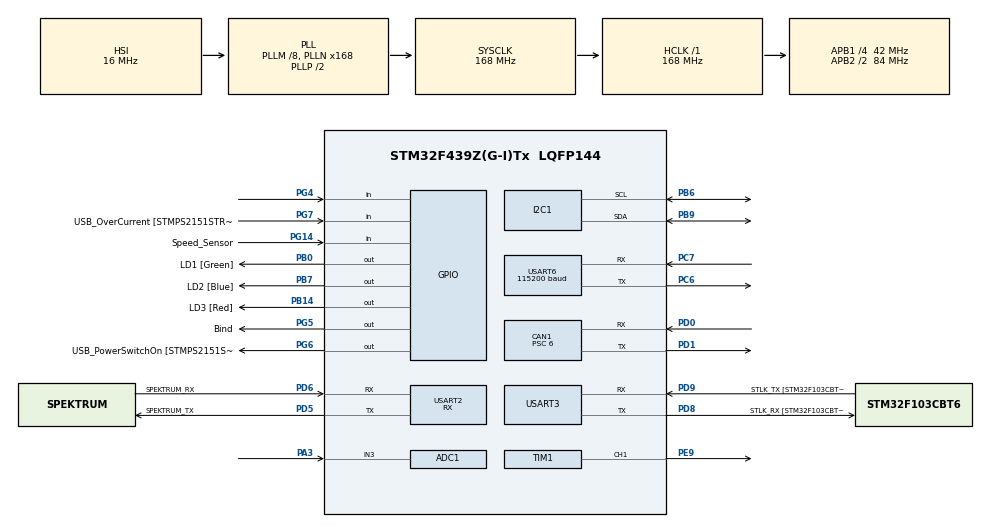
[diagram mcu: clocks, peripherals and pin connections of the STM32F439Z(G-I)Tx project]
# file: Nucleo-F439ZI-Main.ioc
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ADC1.Channel-3\#ChannelRegularConversion=ADC_CHANNEL_3
ADC1.NbrOfConversionFlag=1
ADC1.Rank-3\#ChannelRegularConversion=1
ADC1.SamplingTime-3\#ChannelRegularConversion=ADC_SAMPLETIME_3CYCLES
ADC1.master=1
CAN1.ABOM=ENABLE
CAN1.AWUM=ENABLE
CAN1.BS1=CAN_BS1_11TQ
CAN1.BS2=CAN_BS2_2TQ
CAN1.CalculateBaudRate=500000
CAN1.CalculateTimeBit=2000
CAN1.CalculateTimeQuantum=142.85714285714286
CAN1.NART=ENABLE
CAN1.Prescaler=6
CAN1.TTCM=DISABLE
Mcu.Family=STM32F4
Mcu.Name=STM32F439Z(G-I)Tx
Mcu.Package=LQFP144
NVIC.CAN1_RX0_IRQn=true\:0\:0\:false\:false\:true\:true\:true\:true
NVIC.CAN1_RX1_IRQn=true\:0\:0\:false\:false\:true\:true\:true\:true
NVIC.CAN1_SCE_IRQn=true\:0\:0\:false\:false\:true\:true\:true\:true
NVIC.CAN1_TX_IRQn=true\:0\:0\:false\:false\:true\:true\:true\:true
NVIC.PriorityGroup=NVIC_PRIORITYGROUP_4
NVIC.RCC_IRQn=true\:0\:0\:false\:false\:true\:true\:false\:true
NVIC.TIM1_TRG_COM_TIM11_IRQn=true\:0\:0\:false\:false\:true\:true\:true\:true
NVIC.TIM1_UP_TIM10_IRQn=true\:0\:0\:false\:false\:true\:true\:true\:true
NVIC.TIM6_DAC_IRQn=true\:0\:0\:false\:false\:true\:true\:true\:true
NVIC.TIM7_IRQn=true\:0\:0\:false\:false\:true\:true\:true\:true
NVIC.TIM8_UP_TIM13_IRQn=true\:0\:0\:false\:false\:true\:true\:true\:true
NVIC.USART2_IRQn=true\:1\:0\:true\:false\:true\:true\:true\:true
NVIC.USART6_IRQn=true\:0\:0\:false\:false\:true\:true\:true\:true
PA1.GPIO_Label=RMII_REF_CLK [LAN8742A-CZ-TR_REFCLK0]
PA1.Signal=ETH_REF_CLK
PA10.GPIO_Label=USB_ID
PA10.Signal=USB_OTG_FS_ID
PA11.GPIO_Label=USB_DM
PA11.Signal=USB_OTG_FS_DM
PA12.GPIO_Label=USB_DP
PA12.Signal=USB_OTG_FS_DP
PA13.GPIO_Label=TMS
PA13.Mode=Serial_Wire
PA13.Signal=SYS_JTMS-SWDIO
PA14.GPIO_Label=TCK
PA14.Mode=Serial_Wire
PA14.Signal=SYS_JTCK-SWCLK
PA2.GPIO_Label=RMII_MDIO [LAN8742A-CZ-TR_MDIO]
PA2.Signal=ETH_MDIO
PA3.Signal=ADCx_IN3
PA7.GPIO_Label=RMII_CRS_DV [LAN8742A-CZ-TR_CRS_DV]
PA7.Signal=ETH_CRS_DV
PA8.GPIO_Label=USB_SOF [TP1]
PA8.Signal=USB_OTG_FS_SOF
PA9.GPIO_Label=USB_VBUS
PA9.Signal=USB_OTG_FS_VBUS
PB0.GPIO_Label=LD1 [Green]
PB0.Signal=GPIO_Output
PB13.GPIO_Label=RMII_TXD1 [LAN8742A-CZ-TR_TXD1]
PB13.Signal=ETH_TXD1
PB14.GPIO_Label=LD3 [Red]
PB14.Signal=GPIO_Output
PB6.Mode=I2C
PB6.Signal=I2C1_SCL
PB7.GPIO_Label=LD2 [Blue]
PB7.Signal=GPIO_Output
PB9.Mode=I2C
PB9.Signal=I2C1_SDA
PC1.GPIO_Label=RMII_MDC [LAN8742A-CZ-TR_MDC]
PC1.Signal=ETH_MDC
PC14/OSC32_IN.Mode=LSE-External-Oscillator
PC14/OSC32_IN.Signal=RCC_OSC32_IN
PC15/OSC32_OUT.Mode=LSE-External-Oscillator
PC15/OSC32_OUT.Signal=RCC_OSC32_OUT
PC4.GPIO_Label=RMII_RXD0 [LAN8742A-CZ-TR_RXD0]
PC4.Signal=ETH_RXD0
PC5.GPIO_Label=RMII_RXD1 [LAN8742A-CZ-TR_RXD1]
PC5.Signal=ETH_RXD1
PC6.Mode=Asynchronous
PC6.Signal=USART6_TX
PC7.Mode=Asynchronous
PC7.Signal=USART6_RX
PD0.Mode=CAN_Activate
PD0.Signal=CAN1_RX
PD1.Mode=CAN_Activate
PD1.Signal=CAN1_TX
PD5.GPIO_Label=SPEKTRUM_TX
PD5.Mode=Asynchronous
PD5.Signal=USART2_TX
PD6.GPIO_Label=SPEKTRUM_RX
PD6.Mode=Asynchronous
PD6.Signal=USART2_RX
PD8.GPIO_Label=STLK_RX [STM32F103CBT6_PA3]
PD8.Mode=Asynchronous
PD8.Signal=USART3_TX
PD9.GPIO_Label=STLK_TX [STM32F103CBT6_PA2]
PD9.Mode=Asynchronous
PD9.Signal=USART3_RX
PE9.Signal=S_TIM1_CH1
PG11.GPIO_Label=RMII_TX_EN [LAN8742A-CZ-TR_TXEN]
PG11.Signal=ETH_TX_EN
PG13.GPIO_Label=RMII_TXD0 [LAN8742A-CZ-TR_TXD0]
PG13.Signal=ETH_TXD0
PG14.GPIO_Label=Speed_Sensor
PG14.Signal=GPIO_Input
PG4.Signal=GPIO_Input
PG5.GPIO_Label=Bind
PG5.Signal=GPIO_Output
PG6.GPIO_Label=USB_PowerSwitchOn [STMPS2151STR_EN]
PG6.Signal=GPIO_Output
PG7.GPIO_Label=USB_OverCurrent [STMPS2151STR_FAULT]
PG7.Signal=GPIO_Input
PH0/OSC_IN.GPIO_Label=MCO [STM32F103CBT6_PA8]
PH0/OSC_IN.Mode=HSE-External-Clock-Source
PH0/OSC_IN.Signal=RCC_OSC_IN
PH1/OSC_OUT.Mode=HSE-External-Clock-Source
PH1/OSC_OUT.Signal=RCC_OSC_OUT
ProjectManager.HeapSize=0x200
ProjectManager.StackSize=0x400
ProjectManager.TargetToolchain=STM32CubeIDE
RCC.48MHZClocksFreq_Value=48000000
RCC.AHBFreq_Value=168000000
RCC.APB1CLKDivider=RCC_HCLK_DIV4
RCC.APB1Freq_Value=42000000
RCC.APB1TimFreq_Value=84000000
RCC.APB2CLKDivider=RCC_HCLK_DIV2
RCC.APB2Freq_Value=84000000
RCC.APB2TimFreq_Value=168000000
RCC.CortexFreq_Value=168000000
RCC.HCLKFreq_Value=168000000
RCC.HSE_VALUE=8000000
RCC.HSI_VALUE=16000000
RCC.PLLM=8
RCC.PLLMUL=RCC_PLL_MUL9
RCC.PLLN=168
RCC.PLLQ=7
RCC.PRESCALERUSB=RCC_USBCLKSOURCE_PLL_DIV1_5
RCC.SYSCLKFreq_VALUE=168000000
RCC.SYSCLKSource=RCC_SYSCLKSOURCE_PLLCLK
RCC.SYSCLKSourceVirtual=RCC_SYSCLKSOURCE_PLLCLK
RCC.USBFreq_Value=48000000
RCC.VCOOutputFreq_Value=336000000
SH.ADCx_IN3.0=ADC1_IN3,IN3
SH.S_TIM1_CH1.0=TIM1_CH1,PWM Generation1 CH1
TIM1.Channel-PWM\ Generation1\ CH1=TIM_CHANNEL_1
TIM1.Period=200-1
TIM1.Prescaler=3*168-1
TIM10.Period=50000
TIM10.Prescaler=336-1
TIM11.Period=25000
TIM11.Prescaler=1344-1
TIM13.AutoReloadPreload=TIM_AUTORELOAD_PRELOAD_ENABLE
TIM13.Period=199
TIM13.Prescaler=9999
TIM6.AutoReloadPreload=TIM_AUTORELOAD_PRELOAD_DISABLE
TIM6.Period=25000
TIM6.Prescaler=168-1
TIM7.Period=25000
TIM7.Prescaler=168-1
USART2.Mode=MODE_RX
USART2.VirtualMode=VM_ASYNC
USART3.VirtualMode=VM_ASYNC
USART6.BaudRate=115200
USART6.VirtualMode=VM_ASYNC
VP_TIM10_VS_ClockSourceINT.Mode=Enable_Timer
VP_TIM11_VS_ClockSourceINT.Mode=Enable_Timer
VP_TIM13_VS_ClockSourceINT.Mode=Enable_Timer
VP_TIM6_VS_ClockSourceINT.Mode=Enable_Timer
VP_TIM7_VS_ClockSourceINT.Mode=Enable_Timer
board=NUCLEO-F439ZI

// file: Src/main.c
/* USER CODE BEGIN Header */
/**
 ******************************************************************************
 * @file           : main.c
 * @brief          : Main program body
 ******************************************************************************
 * @attention
 *
 * Copyright (c) 2022 STMicroelectronics.
 * All rights reserved.
 *
 * This software is licensed under terms that can be found in the LICENSE file
 * in the root directory of this software component.
 * If no LICENSE file comes with this software, it is provided AS-IS.
 *
 ******************************************************************************
 */
/* USER CODE END Header */
#include "main.h"

/* USER CODE BEGIN Includes */
#include "app.h"
#include "uart_serial.h"
#include "config.h"

#include <math.h>

#define min(a, b) ((a) < (b) ? (a) : (b))
#define max(a, b) ((a) > (b) ? (a) : (b))

/* USER CODE END Includes */

/* USER CODE BEGIN PD */

void compute_auto_brake();
void autonomous_speed_throttle_pid();

/* USER CODE END PD */

ADC_HandleTypeDef hadc1;

CAN_HandleTypeDef hcan1;

I2C_HandleTypeDef hi2c1;

TIM_HandleTypeDef htim1;
TIM_HandleTypeDef htim6;
TIM_HandleTypeDef htim7;
TIM_HandleTypeDef htim10;
TIM_HandleTypeDef htim11;
TIM_HandleTypeDef htim13;

UART_HandleTypeDef huart2;
UART_HandleTypeDef huart3;
UART_HandleTypeDef huart6;

/* USER CODE BEGIN PV */
int gokart_mode = 0;
int gokart_EM_mode = 0;

float throttle_desired = 0.0;

float speed_measured = 0.0;
float speed_desired = 0.0;

float steer_desired = 0.0;
float steer_measured = 0.0;
float steer_max = 55.0;

float steering_wheel = 0.0;

float brake_desired = 0.0;
float brake_measured = 0.0;
float brake_max = 150.0;

uint8_t reverse_desired = 0;

float steer_desired_can = 0;
float speed_desired_can = 0;
float brake_desired_can = 0;
float throttle_desired_can = 0;
uint8_t reverse_desired_can = 0;
uint32_t hcu_previous_time_can = 0;
uint32_t hcu_timeout_can = 1;
uint32_t hcu_delta_time_can = 0;

app_state_t app;
app_state_t *main_app;

CAN_TxHeaderTypeDef TxHeader[2];
CAN_RxHeaderTypeDef RxHeader;

uint32_t TxMailbox;

uint8_t CAN_TxData[8];
uint8_t CAN_RxData[8];

// Throttle PID
float pid_speed_error = 0.0;
float pid_speed_error_pre = 0.0;
float pid_integral = 0.0;
float pid_derivative = 0.0;
float p_term = 0.0;
float i_term = 0.0;
float d_term = 0.0;

//Control Disconnect variable
volatile uint32_t ctrl_connected = 0;
volatile uint32_t ctrl_connection_counter = 0;
volatile uint32_t prev_time = 0;
uint32_t delta_time = 0;

// char UART_TxData[6];

/* USER CODE END PV */

void SystemClock_Config(void);
static void MX_GPIO_Init(void);
static void MX_USART3_UART_Init(void);
static void MX_USART2_UART_Init(void);
static void MX_TIM1_Init(void);
static void MX_CAN1_Init(void);
static void MX_ADC1_Init(void);
static void MX_USART6_UART_Init(void);
static void MX_TIM6_Init(void);
static void MX_I2C1_Init(void);
static void MX_TIM7_Init(void);
static void MX_TIM10_Init(void);
static void MX_TIM11_Init(void);
static void MX_TIM13_Init(void);

/* USER CODE BEGIN 0 */

int Debug_UART_Get_Byte() {
	if (__HAL_UART_GET_FLAG(&huart3, UART_FLAG_RXNE) == SET) {
		return (uint8_t) (huart3.Instance->DR & (uint8_t) 0x00FF);
	}
	return -1;
}

// This function merges array a, b, c into array d in sequence (no sort)
void mergearray(char a[], char b[], char c[], char d[], int arr1size,
		int arr2size, int arr3size) {
	// resultant Array Size Declaration
	int i, j;

	// copying array 1 elements in to c array
	for (i = 0; i < arr1size; i++) {
		d[i] = a[i];
	}

	// copying array 2 elements in to c array
	for (i = 0, j = arr1size; j < arr1size + arr2size && i < arr2size;
			i++, j++) {
		d[j] = b[i];
	}

	// copying array 3 elements in to c array
	for (i = 0, j = arr1size + arr2size;
			j < arr1size + arr2size + arr3size && i < arr3size; i++, j++) {
		d[j] = c[i];
	}
}

void send_gokart_info(float steer, float speed, int is_info) {
	char data[6];
	char info_steer[13];
	char info_speed[13];
	char info_type[11];
	char info_out[37];

	sprintf(data, "%.2f", steer / 180.0 * 3.14);
	mergearray("steer ", data, " ", info_steer, 6, 6, 1);

	sprintf(data, "%.2f", speed);
	mergearray("speed ", data, " ", info_speed, 6, 6, 1);

	if (is_info == 0) {
		mergearray("type ", "cmmd", "\r\n", info_type, 5, 4, 2);
	} else {
		mergearray("type ", "info", "\r\n", info_type, 5, 4, 2);
	}

	mergearray(info_steer, info_speed, info_type, info_out, 13, 13, 11);

	HAL_UART_Transmit(&huart6, info_out, sizeof(info_out), 10); // Sending in normal mode
	//HAL_UART_Transmit(&huart6, '/n', 1, 10); // Sending in normal mode
}

void handle_remote_command() {
	float acc_percent = app.acc_percent;

	float steer_percent = app.steer_percent;

	reverse_desired = (uint8_t)app.gokart_reverse;

	if (acc_percent > 0.00) {
		throttle_desired = 1.75 * acc_percent * 100.0;
		throttle_desired = max(min(throttle_desired, 100.0), 0.0);
		brake_desired = 0.0;
	} else {
		throttle_desired = 0.0;
		brake_desired = -acc_percent * brake_max;
	}

//  if (gear_shift == 0)
//  {
//    motor_direction = 0;
//  }
//  else
//  {
//    motor_direction = 1;
//  }

	steer_desired = steer_percent * steer_max;

	printf("steer desired: %f\r\n", steer_desired);
}

void handle_autonomous_command() {
	printf("acc_percent: %f\r\n", app.acc_percent);
	if (app.acc_percent <= 0.00)
	{
		emergency_stop();
	} else
	{
		brake_desired = 0.0;
		if (HIGH_LEVEL_CMD_SOURCE == SOURCE_USART) {
			uint8_t place_holder[10];
			sscanf(drive_msg, "%s %f %s %f", place_holder, &steer_desired,
					place_holder, &speed_desired);
		}
		if (HIGH_LEVEL_CMD_SOURCE == SOURCE_CAN) {
			if (hcu_timeout_can == 1) {
				steer_desired = 0;
				speed_desired = 0;
				reverse_desired = 0;
				emergency_stop();
			} else {
				steer_desired = steer_desired_can;
				speed_desired = speed_desired_can;
				brake_desired = (float)brake_desired_can;
				reverse_desired = reverse_desired_can;
			}
		}
		autonomous_speed_throttle_pid();
				//	compute_auto_brake();
	}
}

void handle_manual_command() {
	steer_desired = steering_wheel;
}

#define MAX_THROTTLE 40 // replace with your maximum throttle value
#define MIN_THROTTLE 15 // replace with your minimum throttle value
#define WAVE_FREQ 1     // frequency of the cosine wave in Hz
int loop_count = 0.0;

// Assuming you call this function every 25ms (40Hz)
float calculateThrottle(int loopCount) {
	float amplitude = (MAX_THROTTLE - MIN_THROTTLE) / 2.0;
	float offset = (MAX_THROTTLE + MIN_THROTTLE) / 2.0;
	float phase = (float) loopCount / 40 * WAVE_FREQ * 2.0 * M_PI; // 40Hz control loop
	return amplitude * cos(phase) + offset;
}

void autonomous_speed_throttle_pid() {
	float Kp = 75; // Best Kp = 2.0
	float Ki = 0.0;
	float Kd = 0.0;
	float min_throttle = 0.0;//90.0;
	float pid_cycle_time = 0.200;

	pid_speed_error = speed_desired - speed_measured;
	p_term = Kp * pid_speed_error;

	pid_integral += pid_speed_error * pid_cycle_time;
	i_term = Ki * pid_integral;

	pid_derivative = (pid_speed_error - pid_speed_error_pre) / pid_cycle_time;
	d_term = Kd * pid_derivative;
	pid_speed_error_pre = pid_speed_error;

	throttle_desired = min_throttle + p_term + d_term + i_term;

	printf("p_term: %f \r\n", p_term);
	printf("i_term: %f \r\n", i_term);
	printf("d_term: %f \r\n", d_term);
	printf("pid_speed_error: %f \r\n", pid_speed_error);
	printf("pid_speed_error_pre: %f \r\n", pid_speed_error_pre);
	printf("throttle_desired: %f \r\n", throttle_desired);
	printf("speed_desired: %f \r\n", speed_desired);
	printf("speed_measured: %f \r\n", speed_measured);
	printf("brake measured: %f\r\n", brake_measured);
	printf("\r\n");
}

void compute_auto_brake() {
	float speed_error = speed_desired - speed_measured;

	if (speed_error < -1.5) {
		brake_desired = (-speed_error - 1.5) * brake_max / 2;
	} else {
		brake_desired = 0.0;
	}
}

void cast_command() {
	if (steer_desired > steer_max) {
		steer_desired = steer_max;
	} else if (steer_desired < -steer_max) {
		steer_desired = -steer_max;
	}

	if (brake_desired > brake_max) {
		brake_desired = brake_max;
	} else if (brake_desired < 0.0) {
		brake_desired = 0.0;
	}

	if (throttle_desired > 100.0) {
		throttle_desired = 100.0;
	} else if (throttle_desired < 0.0) {
		throttle_desired = 0.0;
	}
}

void send_command() {
	// Send CANBus command
	CAN_TxData[0] = (int) (steer_desired + steer_max);
	CAN_TxData[1] = (int) (brake_desired);
	CAN_TxData[2] = (int) (throttle_desired);
	CAN_TxData[3] = (int) (reverse_desired);
	CAN_TxData[4] = (int) (gokart_mode);
	CAN_TxData[5] = (int) (gokart_EM_mode);

	HAL_CAN_AddTxMessage(&hcan1, &TxHeader[0], CAN_TxData, &TxMailbox);
}

void send_diag_rc(uint16_t data0, uint16_t data1, uint16_t data2,
		uint16_t data3) {
	// Send CANBus command
	CAN_TxData[0] = (uint16_t) data0;
	CAN_TxData[2] = (uint16_t) data1;
	CAN_TxData[4] = (uint16_t) data2;
	CAN_TxData[6] = (uint16_t) data3;
	//CAN_TxData[4] = app->rc_receiver_state.channels[0].servo_position;
	//CAN_TxData[5] = app->rc_receiver_state.channels[0].servo_position;

	HAL_CAN_AddTxMessage(&hcan1, &TxHeader[1], CAN_TxData, &TxMailbox);
}
void print_info() {
	if (gokart_mode == 0) {
		printf("mode: remote \r\n");
	} else if (gokart_mode == 1) {
		printf("mode: autonomous \r\n");
	} else if (gokart_mode == 2) {
		printf("mode: manual \r\n");
	}

	if (reverse_desired == 1) {
		printf("motor_direction: reverse \r\n\n");
	} else {
		printf("motor_direction: forward \r\n");
	}

	printf("throttle desired %.2f \r\n\n", throttle_desired);
	printf("steer desired %.2f ", steer_desired);
	printf("steer measured %.2f \r\n", steer_measured);
	printf("brake desired %.2f ", brake_desired);
	printf("brake measured %.2f \r\n", brake_measured);
	printf("speed desired %.2f  ", speed_desired);
	printf("speed measured %.2f \r\n", speed_measured);
	printf("\r\n");
}

void HAL_CAN_RxFifo0MsgPendingCallback(CAN_HandleTypeDef *hcan) {
	if (HAL_CAN_GetRxMessage(&hcan1, CAN_RX_FIFO0, &RxHeader, CAN_RxData)
			!= HAL_OK) {
		Error_Handler();
	}

	if (RxHeader.StdId == ID_TBW) {
		speed_measured = CAN_RxData[0] / 10.0;
	}

	if (RxHeader.StdId == ID_BBW) {
		brake_measured = CAN_RxData[0];
	}

	if (RxHeader.StdId == ID_LSBW) {
		steer_measured = CAN_RxData[0] - steer_max;
	}

	if (RxHeader.StdId == ID_USBW) {
		steering_wheel = CAN_RxData[0] - steer_max;
	}

	if (SELECTED_TEAM == TEAM_HUMDA) {
		if (RxHeader.StdId == ID_HCU) {
			//identical layout as ID_MCU
			steer_desired_can = CAN_RxData[0] - steer_max;
			brake_desired_can = CAN_RxData[1];
			throttle_desired_can = CAN_RxData[2];

			//TODO for temporary testing!!!
			speed_desired_can = throttle_desired_can;

			reverse_desired_can = CAN_RxData[3];

			//example tx msg
			//CAN_TxData[0] = (int) (steer_desired + steer_max);
			//CAN_TxData[1] = (int) (brake_desired);
			//CAN_TxData[2] = (int) (throttle_desired);
			//CAN_TxData[3] = (int) (reverse_desired);

			hcu_previous_time_can = HAL_GetTick();
			hcu_timeout_can = 0;
		}

	}

}

void emergency_stop() {
	brake_desired = brake_max;
	throttle_desired = 0.0;
}

/**
 * @brief Periodic call back function triggered by TIM modules. Execute different functions depending on htim.
 * @param htim The TIM instance that triggers this call back.
 */
void HAL_TIM_PeriodElapsedCallback(TIM_HandleTypeDef *htim) {
	// 40Hz - 25ms handles braking on control disconnect
	if (htim == &htim13) {
		//printf("\r\nControl State: %d", ctrl_connected);
		//delta_time is around 300 normally
		delta_time = HAL_GetTick() - prev_time;
		if (delta_time > DELTA_TIME_THRESHOLD)
			if (ctrl_connection_counter > 0)
				ctrl_connection_counter--;

		//CAN timeout check
		hcu_delta_time_can = HAL_GetTick() - hcu_previous_time_can;
		if (HCU_TIMEOUT_CAN < hcu_delta_time_can)
			hcu_timeout_can = 1;

		//rc receive saturation check
		if (ctrl_connection_counter < CTRL_SATURATION_THRESHOLD) {
			ctrl_connected = 0;
		} else {
			ctrl_connected = 1;
		}
	}

	// 40Hz - 25ms handle gokart command and send to subsystems
	if (htim == &htim6) {
		if (ctrl_connected = 0) {
			emergency_stop();
		} else {
			gokart_mode = app.control_mode;
			gokart_EM_mode = app.gokart_EM_status;

			if (gokart_mode == 0) {
				handle_remote_command();
			}
			if (gokart_mode == 1) {
				handle_autonomous_command();
			}
			//this comes last to be able to override all previous cmds
			if (gokart_EM_mode) {
				emergency_stop();
			} else if (gokart_mode == 2) {
				// handle_manual_command();
				//not used now, should not happen

				emergency_stop();
			}
		}

		cast_command();
		send_command();
	}

	// 40Hz - 25ms send out gokart drive info to higher level device
	if (htim == &htim7) {
		// the current gokart drive state information
		send_gokart_info(steer_measured, speed_measured, 1);
	}

	// 10Hz - 100ms send out gokart drive command to higher level device
	if (htim == &htim10) {
		send_gokart_info(steer_desired, speed_desired, 0);
	}

	// 5Hz - 200ms print gokart info
	if (htim == &htim11) {
		//		 print_info();
		//if (gokart_mode == 1) {
		//	handle_autonomous_command();
		//	cast_command();
		//	send_command();
	}
}

/* USER CODE END 0 */

/***************************************************************************/
//Spectrum binding
#define NUM_BIND_PULSES 3

void spektrum_send_pulses(char num) {
	char i;

	for (i = 0; i < num; i++) {
		// no documentation of requirements for pulse width but 200us and a
		// duty cycle of 50% was tested succesfully
		HAL_GPIO_WritePin(LD1_GPIO_Port, LD1_Pin, GPIO_PIN_RESET);
		//10000000 is like 1 sec
		for (int i = 0; i < 1000; i++) {
		}
		HAL_GPIO_WritePin(LD1_GPIO_Port, LD1_Pin, GPIO_PIN_SET);
		for (int i = 0; i < 1000; i++) {
		}
	}
	HAL_GPIO_WritePin(LD1_GPIO_Port, LD1_Pin, GPIO_PIN_RESET);
}
/***************************************************************************/

int Bind_Spectrum() {
	//This pin should be the data pin
	//HAL_GPIO_WritePin(LD1_GPIO_Port, LD1_Pin, GPIO_PIN_SET);
	//This pin should be the Power pin
	//HAL_GPIO_WritePin(GPIOG, GPIO_PIN_5, GPIO_PIN_SET);

	// put the Spektrum RX into bind mode
	// pulses must be sent within 200ms of Spektrum RX powerup
	HAL_Delay(100);
	spektrum_send_pulses(NUM_BIND_PULSES);
	return 0;
}

int main(void) {

	/* MCU Configuration--------------------------------------------------------*/

	/* Reset of all peripherals, Initializes the Flash interface and the Systick. */
	HAL_Init();

	/* Configure the system clock */
	SystemClock_Config();

	/* Initialize all configured peripherals */
	MX_GPIO_Init();
	MX_USART3_UART_Init();
	MX_USART2_UART_Init();
	MX_TIM1_Init();
	MX_CAN1_Init();
	MX_ADC1_Init();
	MX_USART6_UART_Init();
	MX_TIM6_Init();
	MX_I2C1_Init();
	MX_TIM7_Init();
	MX_TIM10_Init();
	MX_TIM11_Init();
	MX_TIM13_Init();
	/* USER CODE BEGIN 2 */

	main_app = &app;
	app_run(&app);

	/* USER CODE END 2 */

	/* Infinite loop */
	/* USER CODE BEGIN WHILE */

	//binding remote controller SPM9645
	//Receiver needs to be powered from 5V
	//Receiver data pin shall be connected to G7 same as LD1 LED on nucleo 439
	Bind_Spectrum();

	while (1) {

	}
	/* USER CODE END WHILE */

}

void SystemClock_Config(void) {
	RCC_OscInitTypeDef RCC_OscInitStruct = { 0 };
	RCC_ClkInitTypeDef RCC_ClkInitStruct = { 0 };

	/** Configure the main internal regulator output voltage
	 */
	__HAL_RCC_PWR_CLK_ENABLE();
	__HAL_PWR_VOLTAGESCALING_CONFIG(PWR_REGULATOR_VOLTAGE_SCALE1);

	/** Initializes the RCC Oscillators according to the specified parameters
	 * in the RCC_OscInitTypeDef structure.
	 */
	RCC_OscInitStruct.OscillatorType = RCC_OSCILLATORTYPE_HSI;
	RCC_OscInitStruct.HSIState = RCC_HSI_ON;
	RCC_OscInitStruct.HSICalibrationValue =
	RCC_HSICALIBRATION_DEFAULT;
	RCC_OscInitStruct.PLL.PLLState = RCC_PLL_ON;
	RCC_OscInitStruct.PLL.PLLSource = RCC_PLLSOURCE_HSI;
	RCC_OscInitStruct.PLL.PLLM = 8;
	RCC_OscInitStruct.PLL.PLLN = 168;
	RCC_OscInitStruct.PLL.PLLP = RCC_PLLP_DIV2;
	RCC_OscInitStruct.PLL.PLLQ = 7;
	if (HAL_RCC_OscConfig(&RCC_OscInitStruct) != HAL_OK) {
		Error_Handler();
	}

	/** Initializes the CPU, AHB and APB buses clocks
	 */
	RCC_ClkInitStruct.ClockType = RCC_CLOCKTYPE_HCLK | RCC_CLOCKTYPE_SYSCLK
			| RCC_CLOCKTYPE_PCLK1 | RCC_CLOCKTYPE_PCLK2;
	RCC_ClkInitStruct.SYSCLKSource = RCC_SYSCLKSOURCE_PLLCLK;
	RCC_ClkInitStruct.AHBCLKDivider = RCC_SYSCLK_DIV1;
	RCC_ClkInitStruct.APB1CLKDivider = RCC_HCLK_DIV4;
	RCC_ClkInitStruct.APB2CLKDivider = RCC_HCLK_DIV2;

	if (HAL_RCC_ClockConfig(&RCC_ClkInitStruct, FLASH_LATENCY_5) != HAL_OK) {
		Error_Handler();
	}
}

static void MX_ADC1_Init(void) {

	ADC_ChannelConfTypeDef sConfig = { 0 };

	/** Configure the global features of the ADC (Clock, Resolution, Data Alignment and number of conversion)
	 */
	hadc1.Instance = ADC1;
	hadc1.Init.ClockPrescaler = ADC_CLOCK_SYNC_PCLK_DIV4;
	hadc1.Init.Resolution = ADC_RESOLUTION_12B;
	hadc1.Init.ScanConvMode = DISABLE;
	hadc1.Init.ContinuousConvMode = DISABLE;
	hadc1.Init.DiscontinuousConvMode = DISABLE;
	hadc1.Init.ExternalTrigConvEdge =
	ADC_EXTERNALTRIGCONVEDGE_NONE;
	hadc1.Init.ExternalTrigConv = ADC_SOFTWARE_START;
	hadc1.Init.DataAlign = ADC_DATAALIGN_RIGHT;
	hadc1.Init.NbrOfConversion = 1;
	hadc1.Init.DMAContinuousRequests = DISABLE;
	hadc1.Init.EOCSelection = ADC_EOC_SINGLE_CONV;
	if (HAL_ADC_Init(&hadc1) != HAL_OK) {
		Error_Handler();
	}

	/** Configure for the selected ADC regular channel its corresponding rank in the sequencer and its sample time.
	 */
	sConfig.Channel = ADC_CHANNEL_3;
	sConfig.Rank = 1;
	sConfig.SamplingTime = ADC_SAMPLETIME_3CYCLES;
	if (HAL_ADC_ConfigChannel(&hadc1, &sConfig) != HAL_OK) {
		Error_Handler();
	}

}

static void MX_CAN1_Init(void) {

	/* USER CODE BEGIN CAN1_Init 0 */
	TxHeader[0].DLC = 8;
	TxHeader[0].ExtId = 0;
	TxHeader[0].IDE = CAN_ID_STD;
	TxHeader[0].RTR = CAN_RTR_DATA;
	TxHeader[0].StdId = ID_MCU;
	TxHeader[0].TransmitGlobalTime = DISABLE;

	TxHeader[1].DLC = 8;
	TxHeader[1].ExtId = 0;
	TxHeader[1].IDE = CAN_ID_STD;
	TxHeader[1].RTR = CAN_RTR_DATA;
	TxHeader[1].StdId = ID_RC;
	TxHeader[1].TransmitGlobalTime = DISABLE;
	/* USER CODE END CAN1_Init 0 */

	hcan1.Instance = CAN1;
	hcan1.Init.Prescaler = 6;
	hcan1.Init.Mode = CAN_MODE_NORMAL;
	hcan1.Init.SyncJumpWidth = CAN_SJW_1TQ;
	hcan1.Init.TimeSeg1 = CAN_BS1_11TQ;
	hcan1.Init.TimeSeg2 = CAN_BS2_2TQ;
	hcan1.Init.TimeTriggeredMode = DISABLE;
	hcan1.Init.AutoBusOff = DISABLE;
	hcan1.Init.AutoWakeUp = DISABLE;
	hcan1.Init.AutoRetransmission = DISABLE;
	hcan1.Init.ReceiveFifoLocked = DISABLE;
	hcan1.Init.TransmitFifoPriority = DISABLE;
	if (HAL_CAN_Init(&hcan1) != HAL_OK) {
		Error_Handler();
	}
	/* USER CODE BEGIN CAN1_Init 2 */

	CAN_FilterTypeDef canfilterconfig;

	canfilterconfig.FilterActivation = CAN_FILTER_ENABLE;
	canfilterconfig.FilterBank = 10; // Which filter bank to use from the assigned ones
	canfilterconfig.FilterFIFOAssignment = CAN_FILTER_FIFO0;
	canfilterconfig.FilterMode = CAN_FILTERMODE_IDLIST;
	canfilterconfig.FilterScale = CAN_FILTERSCALE_32BIT;

	canfilterconfig.FilterIdHigh = ID_TBW << 5; // ID 0x101 left-aligned in 16-bit field
	canfilterconfig.FilterIdLow = 0x0000;
	canfilterconfig.FilterMaskIdHigh = ID_BBW << 5; // ID 0x102 left-aligned in 16-bit field
	canfilterconfig.FilterMaskIdLow = 0x0000;

	if (HAL_CAN_ConfigFilter(&hcan1, &canfilterconfig) != HAL_OK) {
		// Filter configuration Error
		Error_Handler();
	}

	canfilterconfig.FilterBank = 11; // Use another filter bank for the next set of IDs
	canfilterconfig.FilterIdHigh = ID_LSBW << 5; // ID 0x103 left-aligned in 16-bit field
	canfilterconfig.FilterIdLow = 0x0000;
	canfilterconfig.FilterMaskIdHigh = ID_USBW << 5; // ID 0x104 left-aligned in 16-bit field
	canfilterconfig.FilterMaskIdLow = 0x0000;

	if (HAL_CAN_ConfigFilter(&hcan1, &canfilterconfig) != HAL_OK) {
		// Filter configuration Error
		Error_Handler();
	}

	canfilterconfig.FilterBank = 11; // Use another filter bank for the next set of IDs
	canfilterconfig.FilterIdHigh = ID_HCU << 5; // ID 0x103 left-aligned in 16-bit field
	canfilterconfig.FilterIdLow = 0x0000;
	canfilterconfig.FilterMaskIdHigh = 0x0000 << 5; // ID 0x104 left-aligned in 16-bit field
	canfilterconfig.FilterMaskIdLow = 0x0000;

	if (HAL_CAN_ConfigFilter(&hcan1, &canfilterconfig) != HAL_OK) {
		// Filter configuration Error
		Error_Handler();
	}
	//HAL_CAN_Start(&hcan1);
	//HAL_CAN_ActivateNotification(&hcan1, CAN_IT_RX_FIFO0_MSG_PENDING);
	CAN_Prepare();

	/* USER CODE END CAN1_Init 2 */

}

//this is also a working filter, not used, for only std msg-s
void CAN_filter_config() {
	/*
	 CAN_FilterTypeDef sFilter_config; // Create a new filter config structure for each call
	 sFilter_config.SlaveStartFilterBank = 14;
	 sFilter_config.FilterBank = 0;
	 sFilter_config.FilterMode = CAN_FILTERMODE_IDLIST;
	 sFilter_config.FilterScale = CAN_FILTERSCALE_16BIT;
	 sFilter_config.FilterIdHigh = ID1 << 5;
	 sFilter_config.FilterIdLow = ID2 << 5;

	 sFilter_config.FilterMaskIdHigh = ID3 << 5;

	 sFilter_config.FilterMaskIdLow = ID4 << 5;

	 sFilter_config.FilterFIFOAssignment = CAN_FILTER_FIFO0;
	 sFilter_config.FilterActivation = CAN_FILTER_ENABLE;

	 if (HAL_CAN_ConfigFilter(&hcan1, &sFilter_config) != HAL_OK) {
	 Error_Handler();
	 }
	 */
}

//Can filter
//from here:
//https://community.st.com/t5/stm32-mcus-products/stm32f103-can-filter-range-of-id-s/td-p/620967
void CAN_filter_config_ext(uint8_t filter_index, uint32_t ID, uint32_t MASK,
		uint32_t FIFO) {
	//CAN comm
	/*
	 #define REMOTE_FRAME   0 /* If = 1 the frame should be a remote frame. If = 0 the frame will be a data frame */
	/*
	 *
	 */
	/*#define EXTID          0 /* If = 0 the frame should be a frame with standard ID. If = 1 the frame should be a frame with extended ID */
	//
	/*
	 #define FILTER_ID1    ((ID1 << 3) | (REMOTE_FRAME<<1) | (EXTID <<2))  // ID1 = 0x0CF00400 (FxFR1[31:0])
	 #define FILTER_MASK1 ((ID2 << 3) | (REMOTE_FRAME<<1) | (EXTID <<2))  // ID2 = 0x0CFD9200 (FxFR2[31:0])
	 #define FILTER_ID2    ((ID3 << 3) | (REMOTE_FRAME<<1) | (EXTID <<2))  // ID1 = 0x0CF00400 (FxFR1[31:0])
	 #define FILTER_MASK2 ((ID4 << 3) | (REMOTE_FRAME<<1) | (EXTID <<2))  // ID2 = 0x0CFD9200 (FxFR2[31:0])
	 #define FILTER_ID3    ((ID5 << 3) | (REMOTE_FRAME<<1) | (EXTID <<2))  // ID1 = 0x0CF00400 (FxFR1[31:0])
	 #define FILTER_MASK3 ((ID5 << 3) | (REMOTE_FRAME<<1) | (EXTID <<2))  // ID2 = 0x0CFD9200 (FxFR2[31:0])

	 CAN_FilterTypeDef sFilter_config; // Create a new filter config structure for each call
	 sFilter_config.SlaveStartFilterBank = 14;
	 sFilter_config.FilterBank = filter_index;
	 sFilter_config.FilterMode = CAN_FILTERMODE_IDLIST;
	 sFilter_config.FilterScale = CAN_FILTERSCALE_32BIT;
	 sFilter_config.FilterIdHigh = (ID1 >> 16);
	 sFilter_config.FilterIdLow = (ID & 0xFFFF);
	 sFilter_config.FilterMaskIdHigh = (MASK >> 16);
	 sFilter_config.FilterMaskIdLow = (MASK & 0xFFFF);
	 sFilter_config.FilterFIFOAssignment = FIFO;
	 sFilter_config.FilterActivation = CAN_FILTER_ENABLE;

	 if (HAL_CAN_ConfigFilter(&hcan1, &sFilter_config) != HAL_OK) {
	 Error_Handler();
	 }
	 */
}

//better Activatenotification
void CAN_Prepare() {
	if (HAL_CAN_Start(&hcan1) != HAL_OK) {
		/* Start Error */
		Error_Handler();
	}

	/*##-4- Activate CAN RX0 & RX1 fifos notifications #######################################*/
	if (HAL_CAN_ActivateNotification(&hcan1,
	CAN_IT_RX_FIFO0_MSG_PENDING |
	CAN_IT_RX_FIFO0_FULL |
	CAN_IT_RX_FIFO0_OVERRUN |
	CAN_IT_RX_FIFO1_MSG_PENDING |
	CAN_IT_RX_FIFO1_FULL |
	CAN_IT_RX_FIFO1_OVERRUN |
	CAN_IT_ERROR_WARNING |
	CAN_IT_ERROR_PASSIVE |
	CAN_IT_BUSOFF |
	CAN_IT_LAST_ERROR_CODE |
	CAN_IT_ERROR) != HAL_OK) {
		/* Notification Error */
		Error_Handler();
	}
}

static void MX_I2C1_Init(void) {

	hi2c1.Instance = I2C1;
	hi2c1.Init.ClockSpeed = 100000;
	hi2c1.Init.DutyCycle = I2C_DUTYCYCLE_2;
	hi2c1.Init.OwnAddress1 = 0;
	hi2c1.Init.AddressingMode = I2C_ADDRESSINGMODE_7BIT;
	hi2c1.Init.DualAddressMode = I2C_DUALADDRESS_DISABLE;
	hi2c1.Init.OwnAddress2 = 0;
	hi2c1.Init.GeneralCallMode = I2C_GENERALCALL_DISABLE;
	hi2c1.Init.NoStretchMode = I2C_NOSTRETCH_DISABLE;
	if (HAL_I2C_Init(&hi2c1) != HAL_OK) {
		Error_Handler();
	}

	/** Configure Analogue filter
	 */
	if (HAL_I2CEx_ConfigAnalogFilter(&hi2c1,
	I2C_ANALOGFILTER_ENABLE) != HAL_OK) {
		Error_Handler();
	}

	/** Configure Digital filter
	 */
	if (HAL_I2CEx_ConfigDigitalFilter(&hi2c1, 0) != HAL_OK) {
		Error_Handler();
	}

}

static void MX_TIM1_Init(void) {

	TIM_MasterConfigTypeDef sMasterConfig = { 0 };
	TIM_OC_InitTypeDef sConfigOC = { 0 };
	TIM_BreakDeadTimeConfigTypeDef sBreakDeadTimeConfig = { 0 };

	htim1.Instance = TIM1;
	htim1.Init.Prescaler = 3 * 168 - 1;
	htim1.Init.CounterMode = TIM_COUNTERMODE_UP;
	htim1.Init.Period = 200 - 1;
	htim1.Init.ClockDivision = TIM_CLOCKDIVISION_DIV1;
	htim1.Init.RepetitionCounter = 0;
	htim1.Init.AutoReloadPreload =
	TIM_AUTORELOAD_PRELOAD_DISABLE;
	if (HAL_TIM_PWM_Init(&htim1) != HAL_OK) {
		Error_Handler();
	}
	sMasterConfig.MasterOutputTrigger = TIM_TRGO_RESET;
	sMasterConfig.MasterSlaveMode = TIM_MASTERSLAVEMODE_DISABLE;
	if (HAL_TIMEx_MasterConfigSynchronization(&htim1, &sMasterConfig)
			!= HAL_OK) {
		Error_Handler();
	}
	sConfigOC.OCMode = TIM_OCMODE_PWM1;
	sConfigOC.Pulse = 0;
	sConfigOC.OCPolarity = TIM_OCPOLARITY_HIGH;
	sConfigOC.OCNPolarity = TIM_OCNPOLARITY_HIGH;
	sConfigOC.OCFastMode = TIM_OCFAST_DISABLE;
	sConfigOC.OCIdleState = TIM_OCIDLESTATE_RESET;
	sConfigOC.OCNIdleState = TIM_OCNIDLESTATE_RESET;
	if (HAL_TIM_PWM_ConfigChannel(&htim1, &sConfigOC,
	TIM_CHANNEL_1) != HAL_OK) {
		Error_Handler();
	}
	sBreakDeadTimeConfig.OffStateRunMode = TIM_OSSR_DISABLE;
	sBreakDeadTimeConfig.OffStateIDLEMode = TIM_OSSI_DISABLE;
	sBreakDeadTimeConfig.LockLevel = TIM_LOCKLEVEL_OFF;
	sBreakDeadTimeConfig.DeadTime = 0;
	sBreakDeadTimeConfig.BreakState = TIM_BREAK_DISABLE;
	sBreakDeadTimeConfig.BreakPolarity = TIM_BREAKPOLARITY_HIGH;
	sBreakDeadTimeConfig.AutomaticOutput =
	TIM_AUTOMATICOUTPUT_DISABLE;
	if (HAL_TIMEx_ConfigBreakDeadTime(&htim1, &sBreakDeadTimeConfig)
			!= HAL_OK) {
		Error_Handler();
	}
	HAL_TIM_MspPostInit(&htim1);

}

static void MX_TIM6_Init(void) {

	TIM_MasterConfigTypeDef sMasterConfig = { 0 };

	htim6.Instance = TIM6;
	htim6.Init.Prescaler = 168 - 1;
	htim6.Init.CounterMode = TIM_COUNTERMODE_UP;
	htim6.Init.Period = 25000;
	htim6.Init.AutoReloadPreload =
	TIM_AUTORELOAD_PRELOAD_DISABLE;
	if (HAL_TIM_Base_Init(&htim6) != HAL_OK) {
		Error_Handler();
	}
	sMasterConfig.MasterOutputTrigger = TIM_TRGO_RESET;
	sMasterConfig.MasterSlaveMode = TIM_MASTERSLAVEMODE_DISABLE;
	if (HAL_TIMEx_MasterConfigSynchronization(&htim6, &sMasterConfig)
			!= HAL_OK) {
		Error_Handler();
	}
	/* USER CODE BEGIN TIM6_Init 2 */
	HAL_TIM_Base_Start_IT(&htim6);
	/* USER CODE END TIM6_Init 2 */

}

static void MX_TIM7_Init(void) {

	TIM_MasterConfigTypeDef sMasterConfig = { 0 };

	htim7.Instance = TIM7;
	htim7.Init.Prescaler = 168 - 1;
	htim7.Init.CounterMode = TIM_COUNTERMODE_UP;
	htim7.Init.Period = 25000;
	htim7.Init.AutoReloadPreload =
	TIM_AUTORELOAD_PRELOAD_DISABLE;
	if (HAL_TIM_Base_Init(&htim7) != HAL_OK) {
		Error_Handler();
	}
	sMasterConfig.MasterOutputTrigger = TIM_TRGO_RESET;
	sMasterConfig.MasterSlaveMode = TIM_MASTERSLAVEMODE_DISABLE;
	if (HAL_TIMEx_MasterConfigSynchronization(&htim7, &sMasterConfig)
			!= HAL_OK) {
		Error_Handler();
	}
	/* USER CODE BEGIN TIM7_Init 2 */
	HAL_TIM_Base_Start_IT(&htim7);
	/* USER CODE END TIM7_Init 2 */

}

static void MX_TIM10_Init(void) {

	htim10.Instance = TIM10;
	htim10.Init.Prescaler = 336 - 1;
	htim10.Init.CounterMode = TIM_COUNTERMODE_UP;
	htim10.Init.Period = 50000;
	htim10.Init.ClockDivision = TIM_CLOCKDIVISION_DIV1;
	htim10.Init.AutoReloadPreload =
	TIM_AUTORELOAD_PRELOAD_DISABLE;
	if (HAL_TIM_Base_Init(&htim10) != HAL_OK) {
		Error_Handler();
	}
	/* USER CODE BEGIN TIM10_Init 2 */
	HAL_TIM_Base_Start_IT(&htim10);
	/* USER CODE END TIM10_Init 2 */

}

static void MX_TIM11_Init(void) {

	htim11.Instance = TIM11;
	htim11.Init.Prescaler = 1344 - 1;
	htim11.Init.CounterMode = TIM_COUNTERMODE_UP;
	htim11.Init.Period = 25000;
	htim11.Init.ClockDivision = TIM_CLOCKDIVISION_DIV1;
	htim11.Init.AutoReloadPreload =
	TIM_AUTORELOAD_PRELOAD_DISABLE;
	if (HAL_TIM_Base_Init(&htim11) != HAL_OK) {
		Error_Handler();
	}
	/* USER CODE BEGIN TIM11_Init 2 */
	HAL_TIM_Base_Start_IT(&htim11);
	/* USER CODE END TIM11_Init 2 */

}

static void MX_TIM13_Init(void) {

	htim13.Instance = TIM13;
	htim13.Init.Prescaler = 9999;
	htim13.Init.CounterMode = TIM_COUNTERMODE_UP;
	htim13.Init.Period = 199;
	htim13.Init.ClockDivision = TIM_CLOCKDIVISION_DIV1;
	htim13.Init.AutoReloadPreload =
	TIM_AUTORELOAD_PRELOAD_ENABLE;
	if (HAL_TIM_Base_Init(&htim13) != HAL_OK) {
		Error_Handler();
	}
	/* USER CODE BEGIN TIM13_Init 2 */
	HAL_TIM_Base_Start_IT(&htim13);
	/* USER CODE END TIM13_Init 2 */

}

static void MX_USART2_UART_Init(void) {

	huart2.Instance = USART2;
	huart2.Init.BaudRate = 115200;
	huart2.Init.WordLength = UART_WORDLENGTH_8B;
	huart2.Init.StopBits = UART_STOPBITS_1;
	huart2.Init.Parity = UART_PARITY_NONE;
	huart2.Init.Mode = UART_MODE_RX;
	huart2.Init.HwFlowCtl = UART_HWCONTROL_NONE;
	huart2.Init.OverSampling = UART_OVERSAMPLING_16;
	if (HAL_UART_Init(&huart2) != HAL_OK) {
		Error_Handler();
	}

}

static void MX_USART3_UART_Init(void) {

	huart3.Instance = USART3;
	huart3.Init.BaudRate = 115200;
	huart3.Init.WordLength = UART_WORDLENGTH_8B;
	huart3.Init.StopBits = UART_STOPBITS_1;
	huart3.Init.Parity = UART_PARITY_NONE;
	huart3.Init.Mode = UART_MODE_TX_RX;
	huart3.Init.HwFlowCtl = UART_HWCONTROL_NONE;
	huart3.Init.OverSampling = UART_OVERSAMPLING_16;
	if (HAL_UART_Init(&huart3) != HAL_OK) {
		Error_Handler();
	}

}

static void MX_USART6_UART_Init(void) {

	huart6.Instance = USART6;
	huart6.Init.BaudRate = 115200;
	huart6.Init.WordLength = UART_WORDLENGTH_8B;
	huart6.Init.StopBits = UART_STOPBITS_1;
	huart6.Init.Parity = UART_PARITY_NONE;
	huart6.Init.Mode = UART_MODE_TX_RX;
	huart6.Init.HwFlowCtl = UART_HWCONTROL_NONE;
	huart6.Init.OverSampling = UART_OVERSAMPLING_16;
	if (HAL_UART_Init(&huart6) != HAL_OK) {
		Error_Handler();
	}
	/* USER CODE BEGIN USART6_Init 2 */
	uart_serial_start(&huart6);
	/* USER CODE END USART6_Init 2 */

}

static void MX_GPIO_Init(void) {
	GPIO_InitTypeDef GPIO_InitStruct = { 0 };

	/* GPIO Ports Clock Enable */
	__HAL_RCC_GPIOC_CLK_ENABLE();
	__HAL_RCC_GPIOH_CLK_ENABLE();
	__HAL_RCC_GPIOA_CLK_ENABLE();
	__HAL_RCC_GPIOB_CLK_ENABLE();
	__HAL_RCC_GPIOE_CLK_ENABLE();
	__HAL_RCC_GPIOD_CLK_ENABLE();
	__HAL_RCC_GPIOG_CLK_ENABLE();

	/*Configure GPIO pin Output Level */
	HAL_GPIO_WritePin(GPIOB, LD1_Pin | LD3_Pin | LD2_Pin, GPIO_PIN_RESET);
	HAL_GPIO_WritePin(GPIOG, GPIO_PIN_5, GPIO_PIN_RESET);

	/*Configure GPIO pin Output Level */
	//HAL_GPIO_WritePin(GPIOG, GPIO_PIN_5|USB_PowerSwitchOn_Pin, GPIO_PIN_RESET);
	/*Configure GPIO pins : RMII_MDC_Pin RMII_RXD0_Pin RMII_RXD1_Pin */
	GPIO_InitStruct.Pin = RMII_MDC_Pin | RMII_RXD0_Pin | RMII_RXD1_Pin;
	GPIO_InitStruct.Mode = GPIO_MODE_AF_PP;
	GPIO_InitStruct.Pull = GPIO_NOPULL;
	GPIO_InitStruct.Speed = GPIO_SPEED_FREQ_VERY_HIGH;
	GPIO_InitStruct.Alternate = GPIO_AF11_ETH;
	HAL_GPIO_Init(GPIOC, &GPIO_InitStruct);

	/*Configure GPIO pins : RMII_REF_CLK_Pin RMII_MDIO_Pin RMII_CRS_DV_Pin */
	GPIO_InitStruct.Pin =
	RMII_REF_CLK_Pin | RMII_MDIO_Pin | RMII_CRS_DV_Pin;
	GPIO_InitStruct.Mode = GPIO_MODE_AF_PP;
	GPIO_InitStruct.Pull = GPIO_NOPULL;
	GPIO_InitStruct.Speed = GPIO_SPEED_FREQ_VERY_HIGH;
	GPIO_InitStruct.Alternate = GPIO_AF11_ETH;
	HAL_GPIO_Init(GPIOA, &GPIO_InitStruct);

	/*Configure GPIO pins : LD1_Pin LD3_Pin LD2_Pin */
	GPIO_InitStruct.Pin = LD1_Pin | LD3_Pin | LD2_Pin;
	GPIO_InitStruct.Mode = GPIO_MODE_OUTPUT_PP;
	GPIO_InitStruct.Pull = GPIO_NOPULL;
	GPIO_InitStruct.Speed = GPIO_SPEED_FREQ_LOW;
	HAL_GPIO_Init(GPIOB, &GPIO_InitStruct);

	/*Configure GPIO pin : RMII_TXD1_Pin */
	GPIO_InitStruct.Pin = RMII_TXD1_Pin;
	GPIO_InitStruct.Mode = GPIO_MODE_AF_PP;
	GPIO_InitStruct.Pull = GPIO_NOPULL;
	GPIO_InitStruct.Speed = GPIO_SPEED_FREQ_VERY_HIGH;
	GPIO_InitStruct.Alternate = GPIO_AF11_ETH;
	HAL_GPIO_Init(RMII_TXD1_GPIO_Port, &GPIO_InitStruct);

	/*Configure GPIO pins : PG4 USB_OverCurrent_Pin Speed_Sensor_Pin */
	GPIO_InitStruct.Pin = GPIO_PIN_4 | USB_OverCurrent_Pin | Speed_Sensor_Pin;
	GPIO_InitStruct.Mode = GPIO_MODE_INPUT;
	GPIO_InitStruct.Pull = GPIO_NOPULL;
	HAL_GPIO_Init(GPIOG, &GPIO_InitStruct);

	/*Configure GPIO pins : PG5 USB_PowerSwitchOn_Pin */
	GPIO_InitStruct.Pin = GPIO_PIN_5 | USB_PowerSwitchOn_Pin;
	GPIO_InitStruct.Mode = GPIO_MODE_OUTPUT_PP;
	GPIO_InitStruct.Pull = GPIO_NOPULL;
	GPIO_InitStruct.Speed = GPIO_SPEED_FREQ_LOW;
	HAL_GPIO_Init(GPIOG, &GPIO_InitStruct);

	/*Configure GPIO pins : USB_SOF_Pin USB_ID_Pin USB_DM_Pin USB_DP_Pin */
	GPIO_InitStruct.Pin =
	USB_SOF_Pin | USB_ID_Pin | USB_DM_Pin | USB_DP_Pin;
	GPIO_InitStruct.Mode = GPIO_MODE_AF_PP;
	GPIO_InitStruct.Pull = GPIO_NOPULL;
	GPIO_InitStruct.Speed = GPIO_SPEED_FREQ_VERY_HIGH;
	GPIO_InitStruct.Alternate = GPIO_AF10_OTG_FS;
	HAL_GPIO_Init(GPIOA, &GPIO_InitStruct);

	/*Configure GPIO pin : USB_VBUS_Pin */
	GPIO_InitStruct.Pin = USB_VBUS_Pin;
	GPIO_InitStruct.Mode = GPIO_MODE_INPUT;
	GPIO_InitStruct.Pull = GPIO_NOPULL;
	HAL_GPIO_Init(USB_VBUS_GPIO_Port, &GPIO_InitStruct);

	/*Configure GPIO pins : RMII_TX_EN_Pin RMII_TXD0_Pin */
	GPIO_InitStruct.Pin = RMII_TX_EN_Pin | RMII_TXD0_Pin;
	GPIO_InitStruct.Mode = GPIO_MODE_AF_PP;
	GPIO_InitStruct.Pull = GPIO_NOPULL;
	GPIO_InitStruct.Speed = GPIO_SPEED_FREQ_VERY_HIGH;
	GPIO_InitStruct.Alternate = GPIO_AF11_ETH;
	HAL_GPIO_Init(GPIOG, &GPIO_InitStruct);

}

void Error_Handler(void) {
	/* USER CODE BEGIN Error_Handler_Debug */
	/* User can add his own implementation to report the HAL error return state */
	__disable_irq();
	HAL_GPIO_WritePin(LD1_GPIO_Port, LD1_Pin, GPIO_PIN_SET);
	HAL_GPIO_WritePin(LD2_GPIO_Port, LD2_Pin, GPIO_PIN_SET);
	HAL_GPIO_WritePin(LD3_GPIO_Port, LD3_Pin, GPIO_PIN_SET);

	HAL_Delay(500);

	HAL_GPIO_WritePin(LD1_GPIO_Port, LD1_Pin, GPIO_PIN_RESET);
	HAL_GPIO_WritePin(LD2_GPIO_Port, LD2_Pin, GPIO_PIN_RESET);
	HAL_GPIO_WritePin(LD3_GPIO_Port, LD3_Pin, GPIO_PIN_RESET);

	HAL_Delay(500);
	//	while (1) {
	//	}
	/* USER CODE END Error_Handler_Debug */
}
